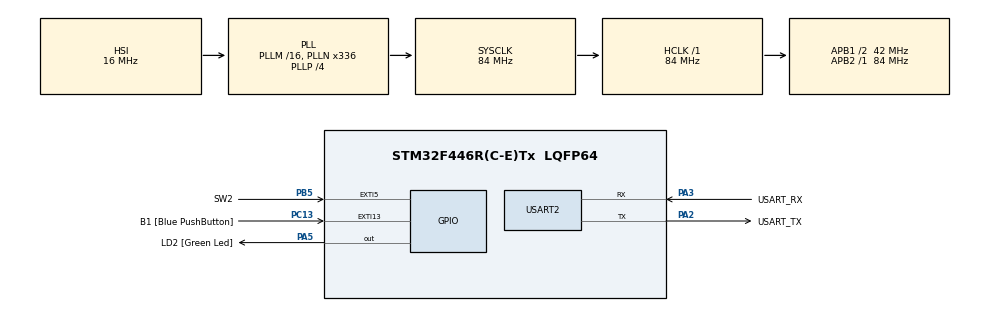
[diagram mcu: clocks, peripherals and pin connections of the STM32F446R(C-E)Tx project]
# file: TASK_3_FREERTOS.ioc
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FREERTOS.Tasks01=defaultTask,24,128,StartDefaultTask,Default,NULL,Dynamic,NULL,NULL
Mcu.Family=STM32F4
Mcu.Name=STM32F446R(C-E)Tx
Mcu.Package=LQFP64
NVIC.EXTI15_10_IRQn=true\:5\:0\:false\:false\:true\:true\:true\:true\:true
NVIC.PriorityGroup=NVIC_PRIORITYGROUP_4
NVIC.TIM6_DAC_IRQn=true\:15\:0\:false\:false\:true\:false\:false\:true\:true
NVIC.TimeBase=TIM6_DAC_IRQn
NVIC.TimeBaseIP=TIM6
PA13.GPIO_Label=TMS
PA13.Mode=Serial_Wire
PA13.Signal=SYS_JTMS-SWDIO
PA14.GPIO_Label=TCK
PA14.Mode=Serial_Wire
PA14.Signal=SYS_JTCK-SWCLK
PA2.GPIO_Label=USART_TX
PA2.Mode=Asynchronous
PA2.Signal=USART2_TX
PA3.GPIO_Label=USART_RX
PA3.Mode=Asynchronous
PA3.Signal=USART2_RX
PA5.GPIO_Label=LD2 [Green Led]
PA5.Signal=GPIO_Output
PB3.GPIO_Label=SWO
PB3.Signal=SYS_JTDO-SWO
PB5.GPIO_Label=SW2
PB5.Signal=GPXTI5
PC13.GPIO_Label=B1 [Blue PushButton]
PC13.GPIO_ModeDefaultEXTI=GPIO_MODE_IT_FALLING
PC13.GPIO_PuPd=GPIO_NOPULL
PC13.Signal=GPXTI13
PC14-OSC32_IN.Mode=LSE-External-Oscillator
PC14-OSC32_IN.Signal=RCC_OSC32_IN
PC15-OSC32_OUT.Mode=LSE-External-Oscillator
PC15-OSC32_OUT.Signal=RCC_OSC32_OUT
PH0-OSC_IN.Mode=HSE-External-Oscillator
PH0-OSC_IN.Signal=RCC_OSC_IN
PH1-OSC_OUT.Mode=HSE-External-Oscillator
PH1-OSC_OUT.Signal=RCC_OSC_OUT
ProjectManager.HeapSize=0x200
ProjectManager.StackSize=0x400
ProjectManager.TargetToolchain=STM32CubeIDE
RCC.48MHZClocksFreq_Value=84000000
RCC.AHBFreq_Value=84000000
RCC.APB1CLKDivider=RCC_HCLK_DIV2
RCC.APB1Freq_Value=42000000
RCC.APB1TimFreq_Value=84000000
RCC.APB2Freq_Value=84000000
RCC.APB2TimFreq_Value=84000000
RCC.CortexFreq_Value=84000000
RCC.FLatency-AdvancedSettings=FLASH_LATENCY_2
RCC.HCLKFreq_Value=84000000
RCC.HSE_VALUE=8000000
RCC.HSI_VALUE=16000000
RCC.PLLN=336
RCC.PLLP=RCC_PLLP_DIV4
RCC.SYSCLKFreq_VALUE=84000000
RCC.SYSCLKSource=RCC_SYSCLKSOURCE_PLLCLK
RCC.USBFreq_Value=168000000
RCC.VCOOutputFreq_Value=336000000
USART2.VirtualMode=VM_ASYNC
VP_FREERTOS_VS_CMSIS_V2.Mode=CMSIS_V2
VP_SYS_VS_tim6.Mode=TIM6
board=NUCLEO-F446RE

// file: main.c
/* USER CODE BEGIN Header */
/**
  ******************************************************************************
  * @file           : main.c
  * @brief          : FreeRTOS producer-consumer button logger
  *
  *  ISR (EXTI) --eventQueue--> Producer task --logQueue--> UART Logger task
  *
  *  - Two switches (B1 = PC13 -> ID 1, SW2 = PB5 -> ID 2) raise EXTI interrupts.
  *  - The ISR only records {button_id, tick} and posts it with the ISR-safe
  *    API. No printf, no blocking, no UART in interrupt context.
  *  - The Producer task turns each event into a JSON string, e.g.
  *        {"button_id": 1, "timestamp": 12500}
  *    and posts it to the log queue.
  *  - The UART Logger task blocks on the log queue and is the ONLY user of
  *    USART2, so the UART needs no mutex.
  ******************************************************************************
  * @attention
  *
  * Copyright (c) 2026 STMicroelectronics.
  * All rights reserved.
  *
  * This software is licensed under terms that can be found in the LICENSE file
  * in the root directory of this software component.
  * If no LICENSE file comes with this software, it is provided AS-IS.
  *
  ******************************************************************************
  */
/* USER CODE END Header */
#include "main.h"
#include "cmsis_os.h"

/* USER CODE BEGIN Includes */
#include "FreeRTOS.h"
#include "task.h"
#include "queue.h"
#include <stdio.h>
#include <string.h>
/* USER CODE END Includes */

/* USER CODE BEGIN PD */

/* Button IDs reported in the JSON payload */
#define BTN1_ID                 1U      /* B1  (PC13, on-board button) */
#define BTN2_ID                 2U      /* SW2 (PB5, external switch)  */

/* Software debounce: ignore edges closer together than this (ms) */
#define DEBOUNCE_MS             50U

/* Queue sizes */
#define EVENT_QUEUE_LEN         16U     /* ISR -> Producer */
#define LOG_QUEUE_LEN           8U      /* Producer -> Logger */
#define LOG_MSG_MAX_LEN         64U     /* max JSON line length incl. \r\n */

/* Timeouts (ms). Every blocking call has a finite timeout. */
#define PRODUCER_WAIT_MS        1000U   /* Producer waiting for an event */
#define LOGGER_WAIT_MS          5000U   /* Logger waiting for a message */
#define QUEUE_POST_TIMEOUT_MS   10U     /* Producer posting to a full log queue */
#define UART_TX_TIMEOUT_MS      100U    /* HAL_UART_Transmit timeout */
#define UART_BUSY_RETRIES       3U

/* Task parameters (stack sizes are in 32-bit words) */
#define PRODUCER_STACK_WORDS    512U
#define LOGGER_STACK_WORDS      384U
#define PRODUCER_PRIORITY       3U
#define LOGGER_PRIORITY         2U      /* consumer below producer */

/* Event posted by the ISR */
typedef struct
{
  uint8_t  button_id;   /* 1 or 2 */
  uint32_t tick;        /* RTOS tick count when the press happened */
} ButtonEvent_t;

/* Message posted to the logger (copied by value into the queue) */
typedef struct
{
  uint16_t len;                     /* number of valid bytes in json[] */
  char     json[LOG_MSG_MAX_LEN];   /* JSON string, ends with \r\n */
} LogMsg_t;

/* The timestamp is the tick count, so 1 tick must equal 1 ms.
 * Set TICK_RATE_HZ = 1000 in CubeMX (FreeRTOS config) if this fails. */
_Static_assert(configTICK_RATE_HZ == 1000, "configTICK_RATE_HZ must be 1000 (1 tick = 1 ms)");

/* USER CODE END PD */

UART_HandleTypeDef huart2;

/* USER CODE BEGIN PV */

static QueueHandle_t eventQueue = NULL;   /* ISR      -> Producer */
static QueueHandle_t logQueue   = NULL;   /* Producer -> Logger   */

/* Diagnostics: incremented when a queue is full and data had to be dropped */
static volatile uint32_t isr_dropped_events = 0U;
static volatile uint32_t log_dropped_msgs   = 0U;
static uint32_t          uart_error_count   = 0U;

/* USER CODE END PV */

void SystemClock_Config(void);
static void MX_GPIO_Init(void);
static void MX_USART2_UART_Init(void);
//void MX_FREERTOS_Init(void);
/* USER CODE BEGIN PFP */
static void ButtonProducerTask(void *pvParameters);
static void UartLoggerTask(void *pvParameters);
static HAL_StatusTypeDef Uart_SendString(const char *str, uint16_t len);
/* USER CODE END PFP */

int main(void)
{

  /* MCU Configuration--------------------------------------------------------*/

  /* Reset of all peripherals, Initializes the Flash interface and the Systick. */
  HAL_Init();

  /* Configure the system clock */
  SystemClock_Config();

  /* Initialize all configured peripherals */
  MX_GPIO_Init();
  MX_USART2_UART_Init();
  /* USER CODE BEGIN 2 */

  /* Create the queues first so the ISR and tasks always find them ready.
   * Items are copied BY VALUE, so no shared buffers and no lifetime issues. */
  eventQueue = xQueueCreate(EVENT_QUEUE_LEN, sizeof(ButtonEvent_t));
  logQueue   = xQueueCreate(LOG_QUEUE_LEN,   sizeof(LogMsg_t));
  if ((eventQueue == NULL) || (logQueue == NULL))
  {
    Error_Handler();   /* out of heap */
  }

  /* Create the two application tasks */
  if (xTaskCreate(ButtonProducerTask, "Producer", PRODUCER_STACK_WORDS,
                  NULL, PRODUCER_PRIORITY, NULL) != pdPASS)
  {
    Error_Handler();
  }
  if (xTaskCreate(UartLoggerTask, "Logger", LOGGER_STACK_WORDS,
                  NULL, LOGGER_PRIORITY, NULL) != pdPASS)
  {
    Error_Handler();
  }

  /* USER CODE END 2 */

  /* Init scheduler */
  osKernelInitialize();  /* Call init function for freertos objects (in cmsis_os2.c) */
  //MX_FREERTOS_Init();

  /* Start scheduler */
  osKernelStart();

  /* We should never get here as control is now taken by the scheduler */

  /* Infinite loop */
  while (1)
  {

  }
}

void SystemClock_Config(void)
{
  RCC_OscInitTypeDef RCC_OscInitStruct = {0};
  RCC_ClkInitTypeDef RCC_ClkInitStruct = {0};

  /** Configure the main internal regulator output voltage
  */
  __HAL_RCC_PWR_CLK_ENABLE();
  __HAL_PWR_VOLTAGESCALING_CONFIG(PWR_REGULATOR_VOLTAGE_SCALE3);

  /** Initializes the RCC Oscillators according to the specified parameters
  * in the RCC_OscInitTypeDef structure.
  */
  RCC_OscInitStruct.OscillatorType = RCC_OSCILLATORTYPE_HSI;
  RCC_OscInitStruct.HSIState = RCC_HSI_ON;
  RCC_OscInitStruct.HSICalibrationValue = RCC_HSICALIBRATION_DEFAULT;
  RCC_OscInitStruct.PLL.PLLState = RCC_PLL_ON;
  RCC_OscInitStruct.PLL.PLLSource = RCC_PLLSOURCE_HSI;
  RCC_OscInitStruct.PLL.PLLM = 16;
  RCC_OscInitStruct.PLL.PLLN = 336;
  RCC_OscInitStruct.PLL.PLLP = RCC_PLLP_DIV4;
  RCC_OscInitStruct.PLL.PLLQ = 2;
  RCC_OscInitStruct.PLL.PLLR = 2;
  if (HAL_RCC_OscConfig(&RCC_OscInitStruct) != HAL_OK)
  {
    Error_Handler();
  }

  /** Initializes the CPU, AHB and APB buses clocks
  */
  RCC_ClkInitStruct.ClockType = RCC_CLOCKTYPE_HCLK|RCC_CLOCKTYPE_SYSCLK
                              |RCC_CLOCKTYPE_PCLK1|RCC_CLOCKTYPE_PCLK2;
  RCC_ClkInitStruct.SYSCLKSource = RCC_SYSCLKSOURCE_PLLCLK;
  RCC_ClkInitStruct.AHBCLKDivider = RCC_SYSCLK_DIV1;
  RCC_ClkInitStruct.APB1CLKDivider = RCC_HCLK_DIV2;
  RCC_ClkInitStruct.APB2CLKDivider = RCC_HCLK_DIV1;

  if (HAL_RCC_ClockConfig(&RCC_ClkInitStruct, FLASH_LATENCY_2) != HAL_OK)
  {
    Error_Handler();
  }
}

static void MX_USART2_UART_Init(void)
{

  huart2.Instance = USART2;
  huart2.Init.BaudRate = 115200;
  huart2.Init.WordLength = UART_WORDLENGTH_8B;
  huart2.Init.StopBits = UART_STOPBITS_1;
  huart2.Init.Parity = UART_PARITY_NONE;
  huart2.Init.Mode = UART_MODE_TX_RX;
  huart2.Init.HwFlowCtl = UART_HWCONTROL_NONE;
  huart2.Init.OverSampling = UART_OVERSAMPLING_16;
  if (HAL_UART_Init(&huart2) != HAL_OK)
  {
    Error_Handler();
  }

}

static void MX_GPIO_Init(void)
{
  GPIO_InitTypeDef GPIO_InitStruct = {0};

  /* GPIO Ports Clock Enable */
  __HAL_RCC_GPIOC_CLK_ENABLE();
  __HAL_RCC_GPIOH_CLK_ENABLE();
  __HAL_RCC_GPIOA_CLK_ENABLE();
  __HAL_RCC_GPIOB_CLK_ENABLE();

  /*Configure GPIO pin Output Level */
  HAL_GPIO_WritePin(LD2_GPIO_Port, LD2_Pin, GPIO_PIN_RESET);

  /*Configure GPIO pin : B1_Pin */
  GPIO_InitStruct.Pin = B1_Pin;
  GPIO_InitStruct.Mode = GPIO_MODE_IT_FALLING;
  GPIO_InitStruct.Pull = GPIO_NOPULL;
  HAL_GPIO_Init(B1_GPIO_Port, &GPIO_InitStruct);

  /*Configure GPIO pin : LD2_Pin */
  GPIO_InitStruct.Pin = LD2_Pin;
  GPIO_InitStruct.Mode = GPIO_MODE_OUTPUT_PP;
  GPIO_InitStruct.Pull = GPIO_NOPULL;
  GPIO_InitStruct.Speed = GPIO_SPEED_FREQ_LOW;
  HAL_GPIO_Init(LD2_GPIO_Port, &GPIO_InitStruct);

  /*Configure GPIO pin : SW2_Pin */
  GPIO_InitStruct.Pin = SW2_Pin;
  GPIO_InitStruct.Mode = GPIO_MODE_IT_FALLING;
  GPIO_InitStruct.Pull = GPIO_PULLUP;
  HAL_GPIO_Init(SW2_GPIO_Port, &GPIO_InitStruct);

  /* EXTI interrupt init*/
  HAL_NVIC_SetPriority(EXTI9_5_IRQn, 5, 0);
  HAL_NVIC_EnableIRQ(EXTI9_5_IRQn);

  HAL_NVIC_SetPriority(EXTI15_10_IRQn, 5, 0);
  HAL_NVIC_EnableIRQ(EXTI15_10_IRQn);

}

/* USER CODE BEGIN 4 */

/**
  * @brief  EXTI callback, runs in INTERRUPT context for both switches.
  *
  * Rules followed here: no blocking, no printf, no UART, and only the
  * "...FromISR" FreeRTOS API. The ISR just stamps the event and hands it to
  * the Producer task through eventQueue.
  */
void HAL_GPIO_EXTI_Callback(uint16_t GPIO_Pin)
{
  static TickType_t last_tick[3] = {0U, 0U, 0U};   /* per-button debounce time */
  static uint8_t    seen[3]      = {0U, 0U, 0U};   /* has the button fired before? */

  BaseType_t    xHigherPriorityTaskWoken = pdFALSE;
  ButtonEvent_t evt;
  uint8_t       id;
  TickType_t    now;

  /* Map the EXTI pin to a button ID (ignore any other pin) */
  if (GPIO_Pin == B1_Pin)
  {
    id = BTN1_ID;
  }
  else if (GPIO_Pin == SW2_Pin)
  {
    id = BTN2_ID;
  }
  else
  {
    return;
  }

  /* EXTI can fire before the queues exist (very early after reset) */
  if (eventQueue == NULL)
  {
    return;
  }

  /* Capture the timestamp (RTOS tick count = ms since scheduler start) */
  now = xTaskGetTickCountFromISR();

  /* Debounce: drop edges that arrive too soon after the previous one */
  if (seen[id] && ((now - last_tick[id]) < pdMS_TO_TICKS(DEBOUNCE_MS)))
  {
    return;
  }
  seen[id]      = 1U;
  last_tick[id] = now;

  evt.button_id = id;
  evt.tick      = (uint32_t)now;

  /* Non-blocking post. If the queue is full the event is dropped and counted
   * (the ISR must never wait). */
  if (xQueueSendFromISR(eventQueue, &evt, &xHigherPriorityTaskWoken) != pdPASS)
  {
    isr_dropped_events++;
  }

  /* If the Producer was woken and has higher priority than the interrupted
   * task, switch to it immediately on exit from the ISR. */
  portYIELD_FROM_ISR(xHigherPriorityTaskWoken);
}

/**
  * @brief  Task 1 / Event Producer.
  *         Blocks on eventQueue (0% CPU while idle), converts each event to a
  *         JSON string and posts it to logQueue.
  */
static void ButtonProducerTask(void *pvParameters)
{
  (void)pvParameters;

  ButtonEvent_t evt;
  LogMsg_t      msg;

  for (;;)
  {
    /* Wait for a button event, with a finite timeout */
    if (xQueueReceive(eventQueue, &evt, pdMS_TO_TICKS(PRODUCER_WAIT_MS)) == pdPASS)
    {
      /* Build the JSON payload, e.g. {"button_id": 1, "timestamp": 12500} */
      int len = snprintf(msg.json, sizeof(msg.json),
                         "{\"button_id\": %u, \"timestamp\": %lu}\r\n",
                         (unsigned int)evt.button_id,
                         (unsigned long)evt.tick);

      /* Reject formatting errors / truncated output */
      if ((len <= 0) || ((size_t)len >= sizeof(msg.json)))
      {
        continue;
      }
      msg.len = (uint16_t)len;

      /* Post to the logger. If the log queue is full, wait a short time
       * (QUEUE_POST_TIMEOUT_MS); if it is still full, drop the message and
       * count it instead of blocking forever. */
      if (xQueueSend(logQueue, &msg, pdMS_TO_TICKS(QUEUE_POST_TIMEOUT_MS)) != pdPASS)
      {
        log_dropped_msgs++;
      }
    }
    /* else: timeout, queue empty -> no buttons pressed, just wait again */
  }
}

/**
  * @brief  Task 2 / Consumer (UART logger).
  *         Sleeps until a message arrives in logQueue, then transmits it.
  *         This task is the only owner of USART2, so no mutex is needed.
  *         When the queue is empty it simply times out and loops, and it
  *         reports any dropped events/messages so overflow is visible.
  */
static void UartLoggerTask(void *pvParameters)
{
  (void)pvParameters;

  LogMsg_t msg;
  char     warn[LOG_MSG_MAX_LEN];
  uint32_t reported_isr = 0U;
  uint32_t reported_log = 0U;

  static const char banner[] = "{\"status\": \"logger_ready\"}\r\n";
  (void)Uart_SendString(banner, (uint16_t)(sizeof(banner) - 1U));

  for (;;)
  {
    /* Block (no CPU use) until a message arrives or the timeout expires */
    if (xQueueReceive(logQueue, &msg, pdMS_TO_TICKS(LOGGER_WAIT_MS)) == pdPASS)
    {
      if (Uart_SendString(msg.json, msg.len) != HAL_OK)
      {
        uart_error_count++;
        HAL_GPIO_TogglePin(LD2_GPIO_Port, LD2_Pin);   /* visible UART fault */
      }
    }
    /* else: timeout, queue empty -> nothing to do, fall through */

    /* Report overflow once per change (queue-full edge case) */
    uint32_t isr_d = isr_dropped_events;
    uint32_t log_d = log_dropped_msgs;
    if ((isr_d != reported_isr) || (log_d != reported_log))
    {
      int len = snprintf(warn, sizeof(warn),
                         "{\"warning\": \"queue_full\", \"dropped_isr\": %lu, \"dropped_log\": %lu}\r\n",
                         (unsigned long)isr_d, (unsigned long)log_d);
      if ((len > 0) && ((size_t)len < sizeof(warn)))
      {
        (void)Uart_SendString(warn, (uint16_t)len);
      }
      reported_isr = isr_d;
      reported_log = log_d;
    }
  }
}

/**
  * @brief  Transmit a string over USART2 with a finite timeout.
  *         Retries a few times if the UART is busy.
  * @retval HAL status of the last attempt
  */
static HAL_StatusTypeDef Uart_SendString(const char *str, uint16_t len)
{
  HAL_StatusTypeDef status = HAL_ERROR;

  for (uint8_t attempt = 0U; attempt < UART_BUSY_RETRIES; attempt++)
  {
    status = HAL_UART_Transmit(&huart2, (uint8_t *)str, len, UART_TX_TIMEOUT_MS);
    if (status != HAL_BUSY)
    {
      break;                                 /* HAL_OK or a real error */
    }
    vTaskDelay(pdMS_TO_TICKS(2U));           /* UART busy: yield and retry */
  }
  return status;
}

/* USER CODE END 4 */

void HAL_TIM_PeriodElapsedCallback(TIM_HandleTypeDef *htim)
{
  if (htim->Instance == TIM6)
  {
    HAL_IncTick();
  }
}

void Error_Handler(void)
{
  __disable_irq();
  while (1)
  {
  }
}
